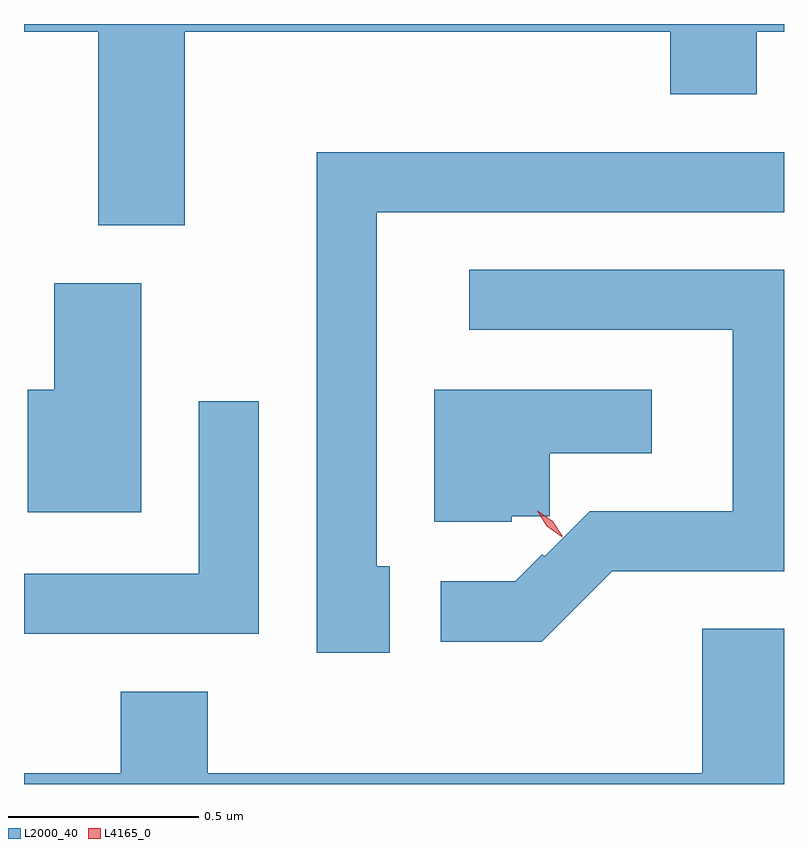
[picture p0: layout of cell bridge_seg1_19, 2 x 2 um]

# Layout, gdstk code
import gdstk
lib = gdstk.Library(unit=1e-6, precision=1e-09)
def P(c, l, *ps):  # polygons
    for p in ps: c.add(gdstk.Polygon(p, *l))
L2000_40 = (2000, 40)
L4165_0 = (4165, 0)

bridge_seg1_19 = lib.new_cell('bridge_seg1_19')
P(bridge_seg1_19, L2000_40, [(1522.479,861.836),(1523.756,861.836),(1523.756,861.671),(1523.984,861.671),(1523.984,861.836),(1524.056,861.836),(1524.056,861.856),(1522.056,861.856),(1522.056,861.836),(1522.251,861.836),(1522.251,861.326),(1522.479,861.326)],
  [(1523.019,860.429),(1522.984,860.429),(1522.984,861.361),(1524.056,861.361),(1524.056,861.519),(1522.826,861.519),(1522.826,860.201),(1523.019,860.201)],
  [(1523.604,860.416),(1524.056,860.416),(1524.056,861.209),(1523.228,861.209),(1523.228,861.051),(1523.921,861.051),(1523.921,860.574),(1523.545,860.574),(1523.426,860.455),(1523.42,860.461),(1523.349,860.389),(1523.153,860.389),(1523.153,860.231),(1523.419,860.231)],
  [(1522.364,861.174),(1522.136,861.174),(1522.136,860.894),(1522.066,860.894),(1522.066,860.571),(1522.364,860.571)],
  [(1523.34,860.56),(1523.44,860.56),(1523.44,860.726),(1523.708,860.726),(1523.708,860.894),(1523.136,860.894),(1523.136,860.546),(1523.34,860.546)],
  [(1522.674,860.863),(1522.516,860.863),(1522.516,860.409),(1522.056,860.409),(1522.056,860.251),(1522.674,860.251)],
  [(1524.056,860.264),(1523.841,860.264),(1523.841,859.884),(1522.539,859.884),(1522.539,860.099),(1522.311,860.099),(1522.311,859.884),(1522.056,859.884),(1522.056,859.856),(1524.056,859.856)])
P(bridge_seg1_19, L4165_0, [(1523.471,860.509),(1523.433,860.534),(1523.409,860.572),(1523.409,860.573),(1523.409,860.573),(1523.447,860.548),(1523.472,860.509),(1523.472,860.509)],
  [(1523.472,860.506),(1523.432,860.534),(1523.407,860.575),(1523.407,860.575),(1523.408,860.575),(1523.447,860.548),(1523.472,860.507),(1523.472,860.506)])

lib.write_gds('bridge_seg1_19.gds')
